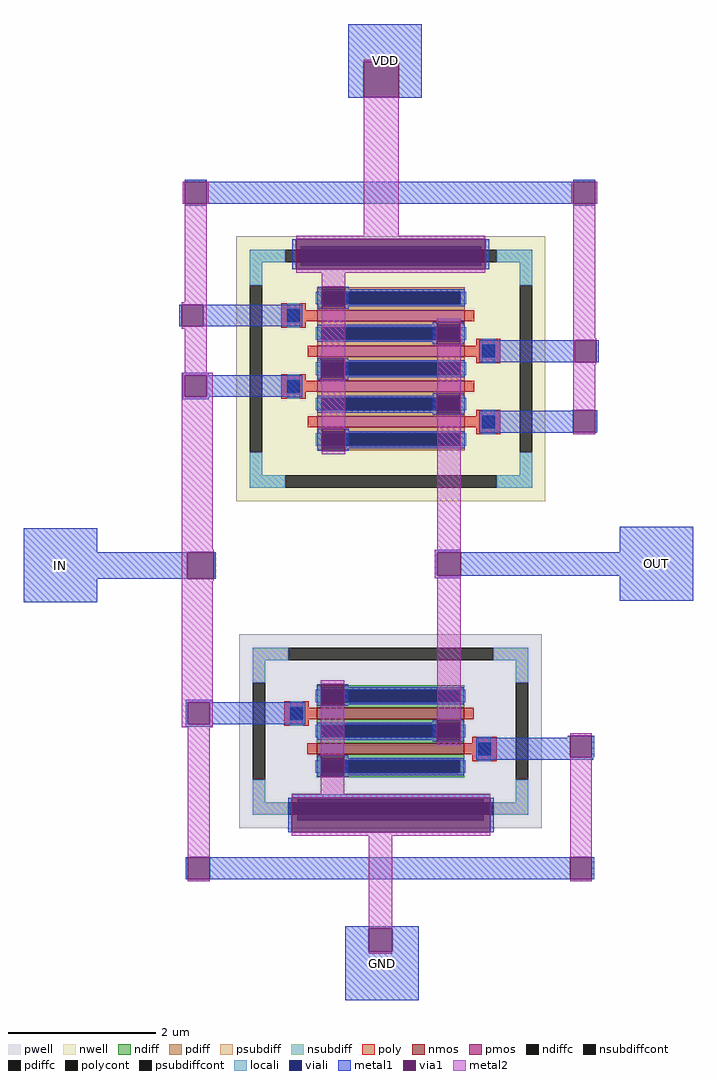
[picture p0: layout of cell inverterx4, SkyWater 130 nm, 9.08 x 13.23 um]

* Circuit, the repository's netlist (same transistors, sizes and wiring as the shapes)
** sch_path: /foss/designs/modulo3/lab02/xschem/inverterx4.sch
.subckt inverterx4 VDD IN OUT GND
*.PININFO IN:I OUT:O VDD:B GND:B
XM1 OUT IN GND GND sky130_fd_pr__nfet_01v8 L=0.15 W=4 nf=2 m=1
XM2 OUT IN VDD VDD sky130_fd_pr__pfet_01v8 L=0.15 W=8 nf=4 m=1
.ends

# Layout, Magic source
magic
tech sky130A
magscale 1 2
<< viali >>
rect 1169 417 1659 469
rect 1160 -1087 1666 -1030
<< metal1 >>
rect 1298 969 1498 1072
rect 1298 874 1340 969
rect 1435 874 1498 969
rect 1298 872 1498 874
rect 855 644 914 650
rect 1909 644 1968 650
rect 914 585 1909 644
rect 855 579 914 585
rect 1909 579 1968 585
rect 1147 407 1157 488
rect 1670 407 1680 488
rect 840 252 846 311
rect 905 252 1174 311
rect 1216 300 1226 359
rect 1290 300 1300 359
rect 1528 204 1538 263
rect 1602 204 1612 263
rect 849 120 920 126
rect 849 61 855 120
rect 914 61 1173 120
rect 1214 107 1224 166
rect 1288 107 1298 166
rect 1653 155 1912 214
rect 1971 155 1977 214
rect 849 54 920 61
rect 1528 12 1538 71
rect 1602 12 1612 71
rect 1903 23 1909 24
rect 1216 -85 1226 -26
rect 1290 -85 1300 -26
rect 1654 -35 1909 23
rect 1968 -35 1974 24
rect 1654 -36 1972 -35
rect 418 -360 618 -296
rect 1533 -360 1603 -354
rect 2034 -360 2234 -292
rect 418 -432 861 -360
rect 933 -432 939 -360
rect 1533 -424 1539 -360
rect 1603 -424 2234 -360
rect 1533 -431 1603 -424
rect 418 -496 618 -432
rect 2034 -492 2234 -424
rect 857 -768 930 -761
rect 857 -827 863 -768
rect 922 -827 1181 -768
rect 1214 -777 1224 -718
rect 1288 -777 1298 -718
rect 857 -834 930 -827
rect 1528 -874 1538 -815
rect 1602 -874 1612 -815
rect 1894 -864 1900 -858
rect 1214 -970 1224 -911
rect 1288 -970 1298 -911
rect 1645 -917 1900 -864
rect 1959 -917 1965 -858
rect 1645 -923 1963 -917
rect 1145 -1026 1683 -1017
rect 1135 -1120 1145 -1026
rect 1683 -1120 1693 -1026
rect 857 -1247 863 -1188
rect 922 -1247 1900 -1188
rect 1959 -1247 1965 -1188
rect 1290 -1380 1490 -1375
rect 1290 -1444 1354 -1380
rect 1418 -1444 1490 -1380
rect 1290 -1575 1490 -1444
<< via1 >>
rect 1340 874 1435 969
rect 855 585 914 644
rect 1909 585 1968 644
rect 1157 469 1670 488
rect 1157 417 1169 469
rect 1169 417 1659 469
rect 1659 417 1670 469
rect 1157 407 1670 417
rect 846 252 905 311
rect 1226 300 1290 359
rect 1538 204 1602 263
rect 855 61 914 120
rect 1224 107 1288 166
rect 1912 155 1971 214
rect 1538 12 1602 71
rect 1226 -85 1290 -26
rect 1909 -35 1968 24
rect 861 -432 933 -360
rect 1539 -424 1603 -360
rect 863 -827 922 -768
rect 1224 -777 1288 -718
rect 1538 -874 1602 -815
rect 1224 -970 1288 -911
rect 1900 -917 1959 -858
rect 1145 -1030 1683 -1026
rect 1145 -1087 1160 -1030
rect 1160 -1087 1666 -1030
rect 1666 -1087 1683 -1030
rect 1145 -1120 1683 -1087
rect 863 -1247 922 -1188
rect 1900 -1247 1959 -1188
rect 1354 -1444 1418 -1380
<< metal2 >>
rect 1340 969 1435 975
rect 849 585 855 644
rect 914 585 920 644
rect 855 317 914 585
rect 1340 498 1435 874
rect 1903 585 1909 644
rect 1968 585 1974 644
rect 1157 488 1670 498
rect 1157 397 1670 407
rect 846 311 914 317
rect 905 252 914 311
rect 846 246 914 252
rect 855 126 914 246
rect 1226 359 1290 397
rect 1226 176 1290 300
rect 1538 271 1602 273
rect 1538 263 1603 271
rect 1602 204 1603 263
rect 1538 194 1603 204
rect 1224 166 1290 176
rect 847 120 931 126
rect 847 61 855 120
rect 914 61 931 120
rect 1288 107 1290 166
rect 1224 97 1290 107
rect 847 -354 931 61
rect 1226 -26 1290 97
rect 1539 81 1603 194
rect 1538 71 1603 81
rect 1602 12 1603 71
rect 1538 2 1603 12
rect 1226 -95 1290 -85
rect 1539 -354 1603 2
rect 1909 220 1968 585
rect 1909 214 1971 220
rect 1909 155 1912 214
rect 1909 149 1971 155
rect 1909 24 1968 149
rect 1909 -41 1968 -35
rect 847 -360 933 -354
rect 847 -432 861 -360
rect 1533 -360 1603 -354
rect 1533 -424 1539 -360
rect 1533 -431 1603 -424
rect 847 -438 933 -432
rect 847 -768 931 -438
rect 847 -827 863 -768
rect 922 -827 931 -768
rect 847 -835 931 -827
rect 1224 -718 1288 -708
rect 863 -1188 922 -835
rect 1224 -911 1288 -777
rect 1539 -805 1603 -431
rect 1538 -815 1603 -805
rect 1602 -874 1603 -815
rect 1538 -884 1603 -874
rect 1900 -858 1959 -852
rect 1224 -1016 1288 -970
rect 1145 -1026 1683 -1016
rect 1145 -1130 1683 -1120
rect 863 -1253 922 -1247
rect 1354 -1380 1418 -1130
rect 1900 -1188 1959 -917
rect 1900 -1253 1959 -1247
rect 1354 -1450 1418 -1444
use sky130_fd_pr__nfet_01v8_ENW9XG  XM1
transform 0 1 1413 -1 0 -846
box -263 -410 263 410
use sky130_fd_pr__pfet_01v8_KJ82MB  XM2
transform 0 1 1414 -1 0 137
box -359 -419 359 419
<< labels >>
flabel metal1 1298 872 1498 1072 0 FreeSans 128 0 0 0 VDD
port 0 nsew
flabel metal1 418 -496 618 -296 0 FreeSans 128 0 0 0 IN
port 1 nsew
flabel metal1 2034 -492 2234 -292 0 FreeSans 128 0 0 0 OUT
port 2 nsew
flabel metal1 1290 -1575 1490 -1375 0 FreeSans 128 0 0 0 GND
port 3 nsew
<< end >>

# cell sky130_fd_pr__nfet_01v8_ENW9XG: kit device sky130_fd_pr__nfet_01v8, w 2.0 l 0.15 m 1 nf 2 diffcov 100 polycov 100 guard 1 glc 1 grc 1 gtc 1 gbc 1 tbcov 100 rlcov 100 topc 1 botc 1 poverlap 0 doverlap 1 lmin 0.15 wmin 0.42 class mosfet compatible {sky130_fd_pr__nfet_01v8 sky130_fd_pr__nfet_01v8_lvt sky130_fd_bs_flash__special_sonosfet_star sky130_fd_pr__nfet_g5v0d10v5 sky130_fd_pr__nfet_05v0_nvt sky130_fd_pr__nfet_03v3_nvt} full_metal 1 viasrc 100 viadrn 100 viagate 100 viagb 0 viagr 0 viagl 0 viagt 0 doports 1

# cell sky130_fd_pr__pfet_01v8_KJ82MB: kit device sky130_fd_pr__pfet_01v8, w 2.0 l 0.15 m 1 nf 4 diffcov 100 polycov 100 guard 1 glc 1 grc 1 gtc 1 gbc 1 tbcov 100 rlcov 100 topc 1 botc 1 poverlap 0 doverlap 1 lmin 0.15 wmin 0.42 class mosfet compatible {sky130_fd_pr__pfet_01v8 sky130_fd_pr__pfet_01v8_lvt sky130_fd_pr__pfet_01v8_hvt sky130_fd_pr__pfet_g5v0d10v5} full_metal 1 viasrc 100 viadrn 100 viagate 100 viagb 0 viagr 0 viagl 0 viagt 0 doports 1
